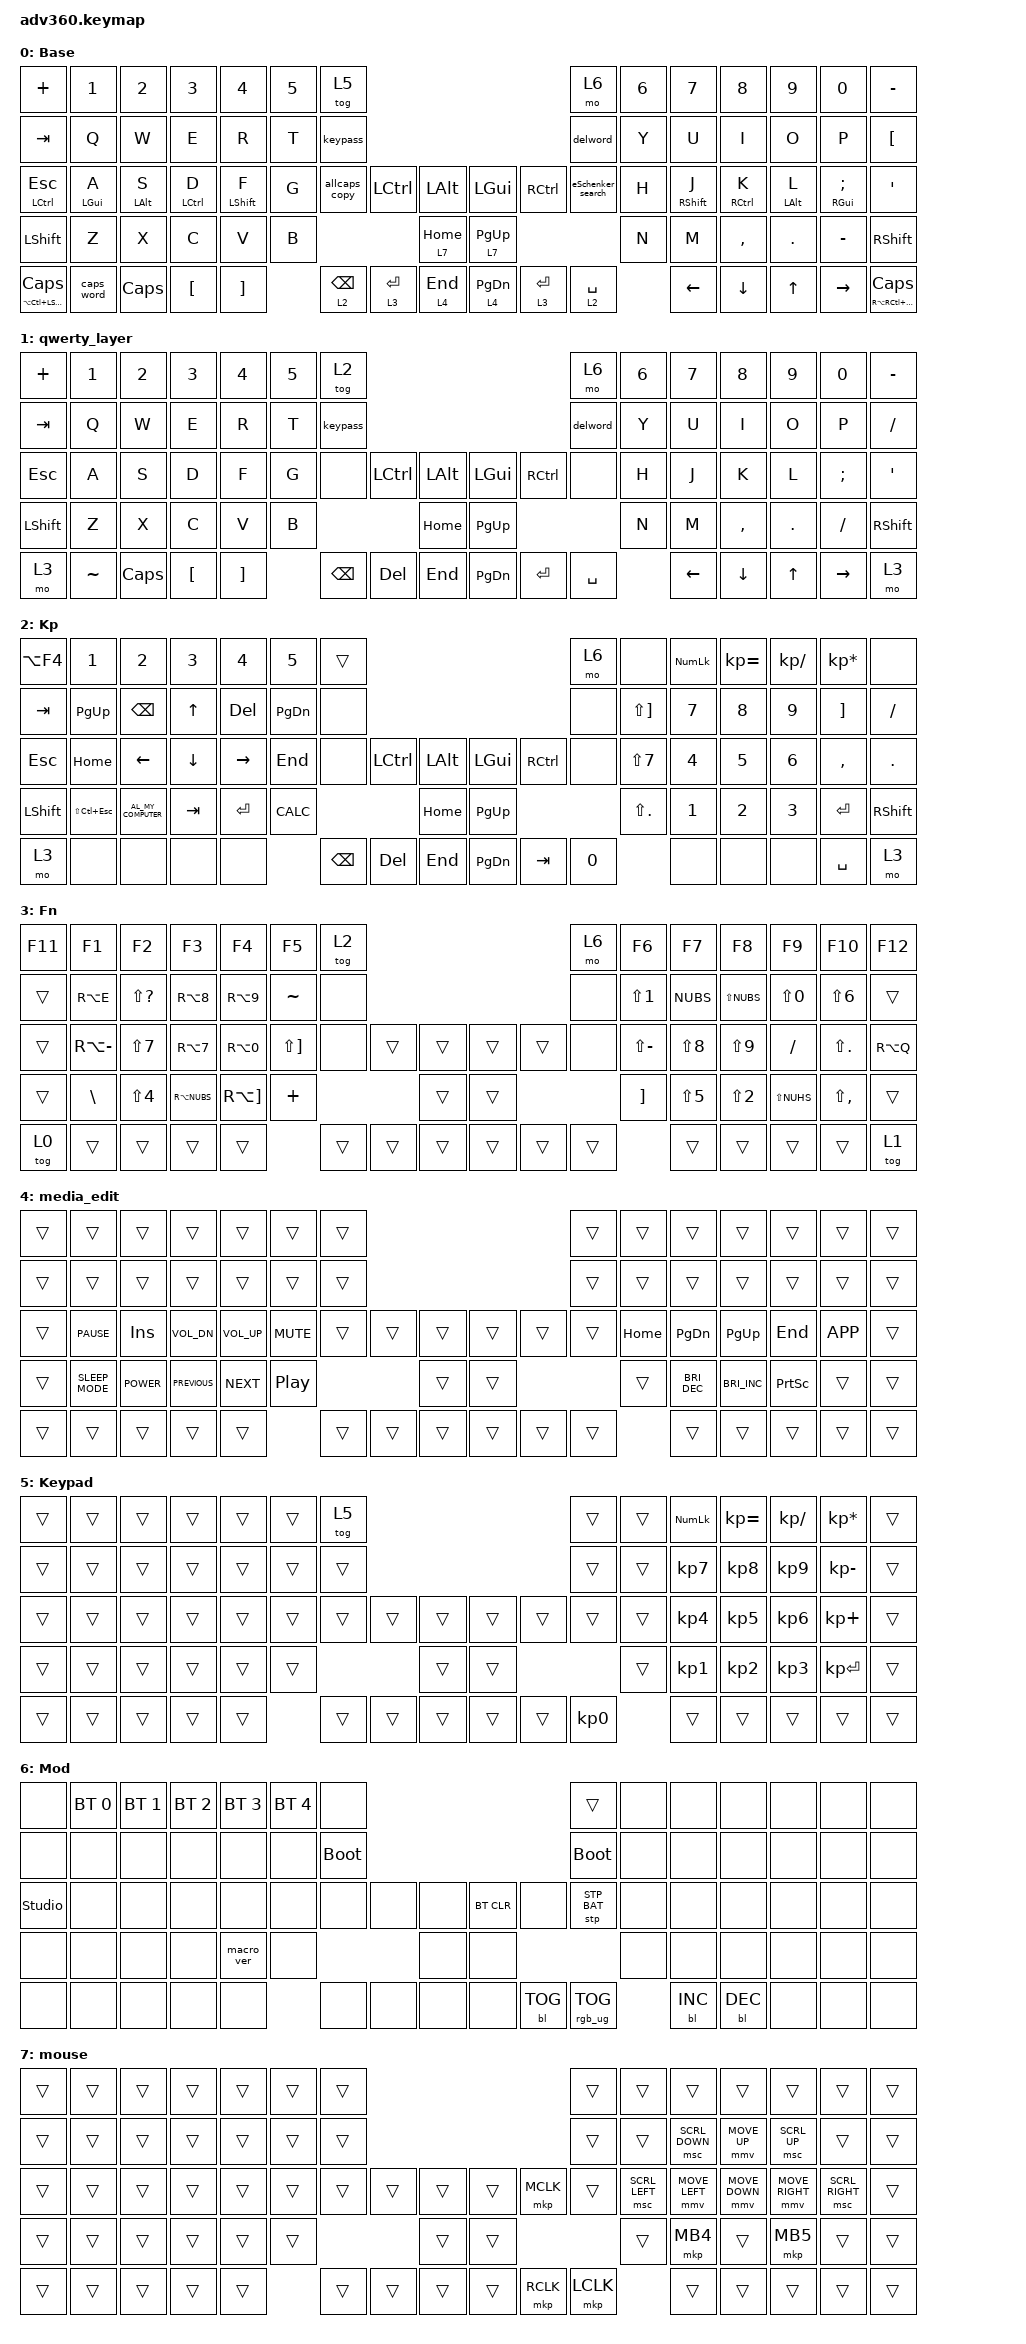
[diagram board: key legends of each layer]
#include <dt-bindings/zmk/stp.h>
#include <behaviors.dtsi>
#include <dt-bindings/zmk/backlight.h>
#include <dt-bindings/zmk/bt.h>
#include <dt-bindings/zmk/keys.h>
#include <dt-bindings/zmk/pointing.h>
#include <dt-bindings/zmk/rgb.h>

/ {
    behaviors {
        #include "macros.dtsi"
      #include "version.dtsi"

        hm: homerow_mods {
            compatible = "zmk,behavior-hold-tap";
            label = "HOMEROW_MODS";
            #binding-cells = <2>;
            tapping-term-ms = <200>;
            quick_tap_ms = <175>;
            flavor = "tap-preferred";
            bindings = <&kp>, <&kp>;
        };

        plus: plus {
            compatible = "zmk,behavior-mod-morph";
            label = "PLUS";
            bindings = <&kp RIGHT_BRACKET>, <&kp N1>;

            #binding-cells = <0>;
            mods = <(MOD_RSFT|MOD_LSFT)>;
        };
    };

    macros {
        delword: delword {
            compatible = "zmk,behavior-macro";
            #binding-cells = <0>;
            bindings = <&kp LC(BACKSPACE)>;
            label = "DELWORD";
        };

        keypass: keypass {
            compatible = "zmk,behavior-macro";
            #binding-cells = <0>;
            bindings = <&kp LC(LA(A))>;
            label = "KEYPASS";
        };

        eSchenker_search: eSchenker_search {
            compatible = "zmk,behavior-macro";
            #binding-cells = <0>;
            bindings = <&kp PRCNT &kp PRCNT &kp LEFT>;
            label = "ESCHENKER_SEARCH";
        };

        allcaps_copy: allcaps_copy {
            compatible = "zmk,behavior-macro";
            #binding-cells = <0>;
            bindings = <&kp LC(V) &kp LS(HOME) &kp LS(LC(U)) &kp LC(C)>;
            label = "ALLCAPS_COPY";
        };
    };

    keymap {
        compatible = "zmk,keymap";

        default_layer {
            display-name = "Base";
            bindings = <
&kp PLUS                     &kp N1          &kp N2          &kp N3            &kp N4             &kp N5  &tog 5                                                                      &mo 6              &kp N6  &kp N7             &kp N8       &kp N9          &kp N0              &kp MINUS
&kp TAB                      &kp Q           &kp W           &kp E             &kp R              &kp T   &keypass                                                                    &delword           &kp Y   &kp U              &kp I        &kp O           &kp P               &kp LEFT_BRACKET
&hm LCTRL ESC                &hm LEFT_GUI A  &hm LEFT_ALT S  &hm LCTRL D       &hm LEFT_SHIFT F   &kp G   &allcaps_copy    &kp LCTRL    &kp LALT        &kp LGUI         &kp RCTRL    &eSchenker_search  &kp H   &hm RIGHT_SHIFT J  &hm RCTRL K  &hm LEFT_ALT L  &hm RIGHT_GUI SEMI  &kp SQT
&kp LSHFT                    &kp Z           &kp X           &kp C             &kp V              &kp B                                 &lt 7 HOME      &lt 7 PAGE_UP                                    &kp N   &kp M              &kp COMMA    &kp DOT         &kp MINUS           &kp RSHFT
&mt LA(LC(LEFT_SHIFT)) CAPS  &caps_word      &kp CAPS        &kp LEFT_BRACKET  &kp RIGHT_BRACKET          &lt 2 BACKSPACE  &lt 3 ENTER  &lt 4 END       &lt 4 PAGE_DOWN  &lt 3 ENTER  &lt 2 SPACE                &kp LEFT_ARROW     &kp DOWN     &kp UP_ARROW    &kp RIGHT           &mt RA(RC(RIGHT_SHIFT)) CAPS
            >;
        };

        qwerty_layer {
            bindings = <
&kp PLUS   &kp N1     &kp N2    &kp N3            &kp N4             &kp N5  &tog 2                                                       &mo 6      &kp N6  &kp N7          &kp N8     &kp N9        &kp N0     &kp MINUS
&kp TAB    &kp Q      &kp W     &kp E             &kp R              &kp T   &keypass                                                     &delword   &kp Y   &kp U           &kp I      &kp O         &kp P      &kp FSLH
&kp ESC    &kp A      &kp S     &kp D             &kp F              &kp G   &none     &kp LCTRL  &kp LALT      &kp LGUI       &kp RCTRL  &none      &kp H   &kp J           &kp K      &kp L         &kp SEMI   &kp APOS
&kp LSHFT  &kp Z      &kp X     &kp C             &kp V              &kp B                        &kp HOME      &kp PAGE_UP                          &kp N   &kp M           &kp COMMA  &kp DOT       &kp FSLH   &kp RSHFT
&mo 3      &kp TILDE  &kp CAPS  &kp LEFT_BRACKET  &kp RIGHT_BRACKET          &kp BSPC  &kp DEL    &kp END       &kp PAGE_DOWN  &kp ENTER  &kp SPACE          &kp LEFT_ARROW  &kp DOWN   &kp UP_ARROW  &kp RIGHT  &mo 3
            >;
        };

        nav_numb {
            display-name = "Kp";
            bindings = <
&kp LA(F4)  &kp N1              &kp N2                &kp N3        &kp N4      &kp N5         &trans                                                   &mo 6   &none                  &kp KP_NUM    &kp KP_EQUAL  &kp KP_DIVIDE  &kp KP_MULTIPLY    &none
&kp TAB     &kp PAGE_UP         &kp BACKSPACE         &kp UP_ARROW  &kp DELETE  &kp PAGE_DOWN  &none                                                    &none   &kp LS(RIGHT_BRACKET)  &kp N7        &kp N8        &kp N9         &kp RIGHT_BRACKET  &kp SLASH
&kp ESC     &kp HOME            &kp LEFT              &kp DOWN      &kp RIGHT   &kp END        &none     &kp LCTRL  &kp LALT      &kp LGUI   &kp RCTRL  &none   &kp LS(N7)             &kp NUMBER_4  &kp N5        &kp NUMBER_6   &kp COMMA          &kp PERIOD
&kp LSHFT   &kp LS(LC(ESCAPE))  &kp C_AL_MY_COMPUTER  &kp TAB       &kp ENTER   &kp K_CALC                          &kp HOME      &kp PG_UP                     &kp LS(PERIOD)         &kp NUMBER_1  &kp NUMBER_2  &kp NUMBER_3   &kp ENTER          &kp RSHFT
&mo 3       &none               &none                 &none         &none                      &kp BSPC  &kp DEL    &kp END       &kp PG_DN  &kp TAB    &kp N0                         &none         &none         &none          &kp SPACE          &mo 3
            >;
        };

        fn {
            display-name = "Fn";
            bindings = <
&kp F11  &kp F1         &kp F2            &kp F3        &kp F4                 &kp F5                 &tog 2                                      &mo 6   &kp F6             &kp F7      &kp F8            &kp F9        &kp F10           &kp F12
&trans   &kp RA(E)      &kp LS(QUESTION)  &kp RA(N8)    &kp RA(N9)             &kp TILDE              &none                                       &none   &kp LS(NUMBER_1)   &kp NUBS    &kp LS(NUBS)      &kp LS(N0)    &kp LS(NUMBER_6)  &trans
&trans   &kp RA(MINUS)  &kp LS(N7)        &kp RA(N7)    &kp RA(N0)             &kp LS(RIGHT_BRACKET)  &none   &trans  &trans      &trans  &trans  &none   &kp LS(MINUS)      &kp LS(N8)  &kp LS(N9)        &kp SLASH     &kp LS(DOT)       &kp RA(Q)
&trans   &kp BSLH       &kp LS(NUMBER_4)  &kp RA(NUBS)  &kp RA(RIGHT_BRACKET)  &kp PLUS                               &trans      &trans                  &kp RIGHT_BRACKET  &kp LS(N5)  &kp LS(NUMBER_2)  &kp LS(NUHS)  &kp LS(COMMA)     &trans
&tog 0   &trans         &trans            &trans        &trans                                        &trans  &trans  &trans      &trans  &trans  &trans                     &trans      &trans            &trans        &trans            &tog 1
            >;
        };

        media_edit {
            bindings = <
&trans  &trans            &trans       &trans          &trans        &trans            &trans                                      &trans  &trans    &trans                &trans                &trans           &trans     &trans
&trans  &trans            &trans       &trans          &trans        &trans            &trans                                      &trans  &trans    &trans                &trans                &trans           &trans     &trans
&trans  &kp C_PAUSE       &kp INS      &kp C_VOL_DN    &kp C_VOL_UP  &kp C_MUTE        &trans  &trans  &trans      &trans  &trans  &trans  &kp HOME  &kp PAGE_DOWN         &kp PAGE_UP           &kp END          &kp K_APP  &trans
&trans  &kp C_SLEEP_MODE  &kp K_POWER  &kp C_PREVIOUS  &kp C_NEXT    &kp C_PLAY_PAUSE                  &trans      &trans                  &trans    &kp C_BRIGHTNESS_DEC  &kp C_BRIGHTNESS_INC  &kp PRINTSCREEN  &trans     &trans
&trans  &trans            &trans       &trans          &trans                          &trans  &trans  &trans      &trans  &trans  &trans            &trans                &trans                &trans           &trans     &trans
            >;
        };

        Keypad {
            bindings = <
&trans  &trans  &trans  &trans  &trans  &trans  &tog 5                                      &trans           &trans  &kp KP_NUM       &kp KP_EQUAL     &kp KP_SLASH     &kp KP_MULTIPLY  &trans
&trans  &trans  &trans  &trans  &trans  &trans  &trans                                      &trans           &trans  &kp KP_NUMBER_7  &kp KP_NUMBER_8  &kp KP_NUMBER_9  &kp KP_MINUS     &trans
&trans  &trans  &trans  &trans  &trans  &trans  &trans  &trans  &trans      &trans  &trans  &trans           &trans  &kp KP_NUMBER_4  &kp KP_NUMBER_5  &kp KP_NUMBER_6  &kp KP_PLUS      &trans
&trans  &trans  &trans  &trans  &trans  &trans                  &trans      &trans                           &trans  &kp KP_NUMBER_1  &kp KP_NUMBER_2  &kp KP_NUMBER_3  &kp KP_ENTER     &trans
&trans  &trans  &trans  &trans  &trans          &trans  &trans  &trans      &trans  &trans  &kp KP_NUMBER_0          &trans           &trans           &trans           &trans           &trans
            >;
        };

        mod {
            display-name = "Mod";
            bindings = <
&none           &bt BT_SEL 0  &bt BT_SEL 1  &bt BT_SEL 2  &bt BT_SEL 3  &bt BT_SEL 4  &none                                                  &trans           &none  &none       &none       &none  &none  &none
&none           &none         &none         &none         &none         &none         &bootloader                                            &bootloader      &none  &none       &none       &none  &none  &none
&studio_unlock  &none         &none         &none         &none         &none         &none        &none  &none      &bt BT_CLR  &none       &stp STP_BAT     &none  &none       &none       &none  &none  &none
&none           &none         &none         &none         &macro_ver    &none                             &none      &none                                    &none  &none       &none       &none  &none  &none
&none           &none         &none         &none         &none                       &none        &none  &none      &none       &bl BL_TOG  &rgb_ug RGB_TOG         &bl BL_INC  &bl BL_DEC  &none  &none  &none
            >;
        };

        mouse {
            bindings = <
&trans  &trans  &trans  &trans  &trans  &trans  &trans                                         &trans     &trans          &trans          &trans          &trans           &trans           &trans
&trans  &trans  &trans  &trans  &trans  &trans  &trans                                         &trans     &trans          &msc SCRL_DOWN  &mmv MOVE_UP    &msc SCRL_UP     &trans           &trans
&trans  &trans  &trans  &trans  &trans  &trans  &trans  &trans  &trans      &trans  &mkp MCLK  &trans     &msc SCRL_LEFT  &mmv MOVE_LEFT  &mmv MOVE_DOWN  &mmv MOVE_RIGHT  &msc SCRL_RIGHT  &trans
&trans  &trans  &trans  &trans  &trans  &trans                  &trans      &trans                        &trans          &mkp MB4        &trans          &mkp MB5         &trans           &trans
&trans  &trans  &trans  &trans  &trans          &trans  &trans  &trans      &trans  &mkp RCLK  &mkp LCLK                  &trans          &trans          &trans           &trans           &trans
            >;
        };
    };
};
